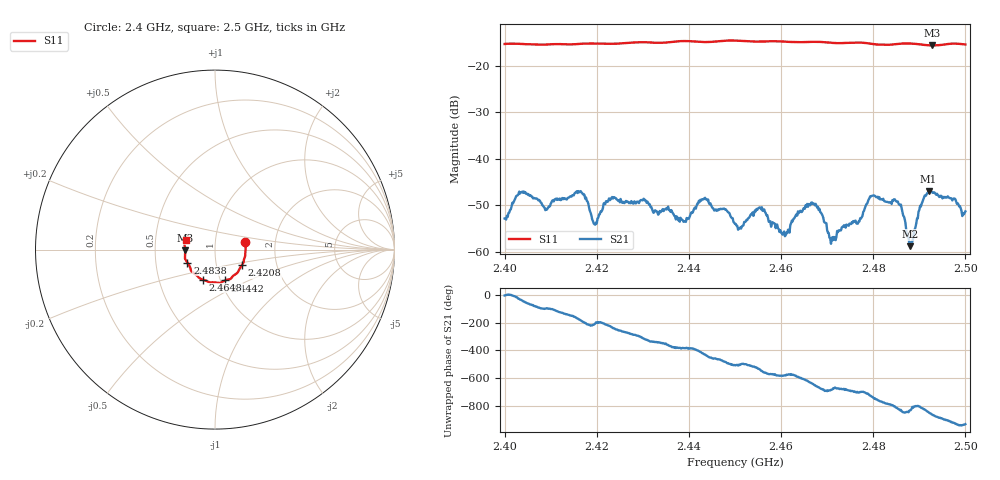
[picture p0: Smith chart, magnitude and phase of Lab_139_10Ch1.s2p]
# Hz S RI R 50
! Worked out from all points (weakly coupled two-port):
!   601 points, 2.4 GHz to 2.5 GHz, reference 50 ohm
!   highest |S21| = -46.96 dB at 2.492 GHz (marker M1); lowest = -58.8 dB at 2.488 GHz (marker M2)
!   lowest |S11| = -15.6 dB at 2.4928 GHz (marker M3), VSWR 1.40, Z = 35.8 - j0.337 ohm
!   |S11| at or under -10 dB: start of sweep to end of sweep
!   S12 and S22 are empty: the file has one direction only
!   S11 on the Smith chart (normalised r, x): 2.4 GHz: 1.40, +0.12; 2.4208 GHz: 1.33, -0.24; 2.4442 GHz: 1.05, -0.37; 2.4648 GHz: 0.83, -0.29; 2.4838 GHz: 0.73, -0.11; 2.5 GHz: 0.72, +0.08
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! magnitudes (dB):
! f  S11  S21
! 2.4 GHz  -15.3  -52.9
! 2.4037 GHz  -15.3  -47.2
! 2.409 GHz  -15.4  -50.8
! 2.4167 GHz  -15.2  -47.3
! 2.4195 GHz  -15.2  -54.1
! 2.4208 GHz  -15.2  -51.4
! 2.4333 GHz  -15.0  -52.1
! 2.4442 GHz  -14.9  -48.8
! 2.45 GHz  -14.5  -54.1
! 2.4555 GHz  -14.8  -50.5
! 2.4608 GHz  -14.8  -56.7
! 2.4648 GHz  -14.9  -50.8
! 2.4667 GHz  -14.8  -49.4
! 2.4713 GHz  -15.0  -56.9
! 2.4797 GHz  -15.2  -48.0
! 2.4833 GHz  -15.4  -49.4
! 2.4838 GHz  -15.4  -49.5
! 2.4858 GHz  -15.2  -50.0
! 2.488 GHz  -15.2  -58.8
! 2.492 GHz  -15.6  -47.0
! 2.4928 GHz  -15.6  -47.3
! 2.5 GHz  -15.4  -51.4
